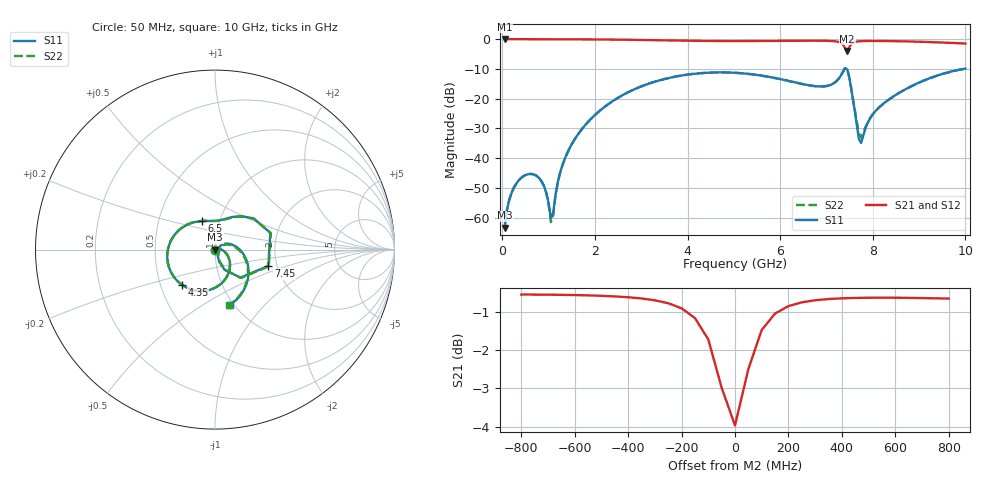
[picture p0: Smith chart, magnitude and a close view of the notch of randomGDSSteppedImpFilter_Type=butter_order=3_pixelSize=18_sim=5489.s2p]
! freq	dB(S11)	phase(S11)	dB(S12)	phase(S12)
!  dB(S21)	phase(S21)	dB(S22)	phase(S22)
!S-par simulation data
#  GHz  S  DB  R 50
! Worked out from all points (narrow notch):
!   200 points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, 50 MHz to 10 GHz, reference 50 ohm
!   highest |S21| = -0.01 dB at 50 MHz (marker M1); lowest = -4.0 dB at 7.45 GHz (marker M2)
!   notch at M2: 3.4 dB deep, 139 MHz wide at half that depth
!   lowest |S11| = -63.4 dB at 50 MHz (marker M3), VSWR 1.00, Z = 50 - j0.0675 ohm
!   |S11| at or under -10 dB: start of sweep to 7.394 GHz; 7.425 GHz to 9.975 GHz (2.55 GHz wide, 29.3 % of centre)
!   |S22| runs from -63.4 to -9.8 dB; largest |S21 - S12| = 0
!   S11 on the Smith chart (normalised r, x): 50 MHz: 1.00, -0.00; 4.35 GHz: 0.64, -0.27; 6.5 GHz: 0.83, +0.27; 7.45 GHz: 1.80, -0.36; 10 GHz: 0.96, -0.66
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0.05  -63.40 -86.5  -0.01 -2.7  -0.01 -2.7  -63.40 -86.4
0.25  -49.98 -102.7  -0.03 -12.9  -0.03 -12.9  -49.98 -102.6
0.6  -45.34 -123.7  -0.04 -30.8  -0.04 -30.8  -45.34 -123.2
0.9  -49.39 -146.8  -0.05 -46.2  -0.05 -46.2  -49.43 -145.0
1.05  -60.35 153.0  -0.06 -53.9  -0.06 -53.9  -61.50 157.4
1.3  -42.33 31.6  -0.07 -66.7  -0.07 -66.7  -42.38 30.0
1.75  -29.66 2.9  -0.10 -89.9  -0.10 -89.9  -29.67 2.2
2.65  -18.42 -45.6  -0.22 -136.6  -0.22 -136.6  -18.42 -46.0
3.4  -13.84 -84.9  -0.40 -175.5  -0.40 -175.5  -13.85 -85.3
4.35  -11.40 -133.3  -0.63 135.9  -0.63 135.9  -11.40 -133.8
5.05  -11.36 -168.8  -0.68 100.0  -0.68 100.0  -11.36 -169.4
5.75  -12.68 154.9  -0.62 63.4  -0.62 63.4  -12.69 154.0
6.5  -15.18 114.3  -0.55 22.6  -0.55 22.6  -15.18 112.8
6.7  -15.73 102.8  -0.55 11.4  -0.55 11.4  -15.74 101.2
7.35  -11.18 39.2  -1.72 -32.9  -1.72 -32.9  -11.14 38.1
7.45  -10.16 -17.0  -3.96 -25.1  -3.96 -25.1  -10.07 -17.3
7.55  -18.13 -64.6  -1.48 -23.0  -1.48 -23.0  -17.90 -63.4
7.75  -34.93 -0.6  -0.70 -39.8  -0.70 -39.8  -33.12 -9.1
7.95  -26.46 34.9  -0.64 -52.7  -0.64 -52.7  -26.37 28.5
8.35  -20.29 17.3  -0.68 -76.5  -0.68 -76.5  -20.31 14.1
9.05  -14.28 -21.7  -0.91 -117.0  -0.91 -117.0  -14.30 -23.3
10  -9.93 -74.7  -1.51 -171.2  -1.51 -171.2  -9.95 -75.5
